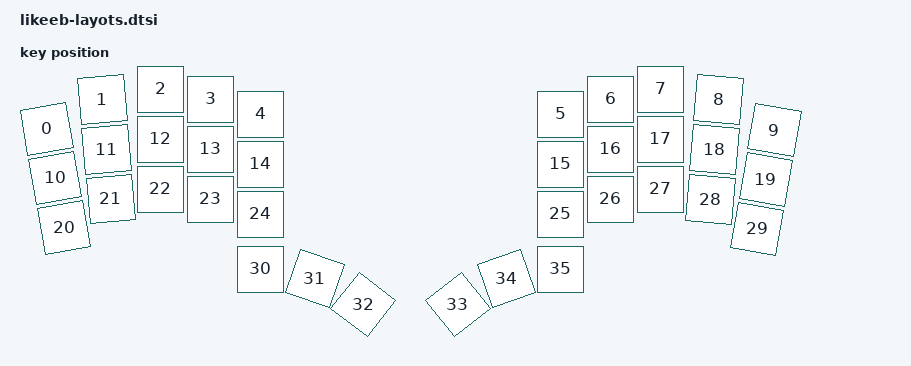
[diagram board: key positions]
#include <physical_layouts.dtsi>

/ {
    physical_layout0: physical_layout_0 {
        compatible = "zmk,physical-layout";
        display-name = "default_layout";

        kscan = <&kscan0>;
        transform = <&matrix_transform0>;

        keys  //                     w   h    x    y     rot    rx    ry
            = <&key_physical_attrs 100 100    0   70 (-1000)    85   370>
            , <&key_physical_attrs 100 100   90   16  (-500)   185   316>
            , <&key_physical_attrs 100 100  185    0       0     0     0>
            , <&key_physical_attrs 100 100  285   20       0     0     0>
            , <&key_physical_attrs 100 100  385   50       0     0     0>
            , <&key_physical_attrs 100 100  985   50       0     0     0>
            , <&key_physical_attrs 100 100 1085   20       0     0     0>
            , <&key_physical_attrs 100 100 1185    0       0     0     0>
            , <&key_physical_attrs 100 100 1280   16     500  1280   316>
            , <&key_physical_attrs 100 100 1370   70    1000  1370   370>
            , <&key_physical_attrs 100 100    0  170 (-1000)    85   370>
            , <&key_physical_attrs 100 100   90  116  (-500)   185   316>
            , <&key_physical_attrs 100 100  185  100       0     0     0>
            , <&key_physical_attrs 100 100  285  120       0     0     0>
            , <&key_physical_attrs 100 100  385  150       0     0     0>
            , <&key_physical_attrs 100 100  985  150       0     0     0>
            , <&key_physical_attrs 100 100 1085  120       0     0     0>
            , <&key_physical_attrs 100 100 1185  100       0     0     0>
            , <&key_physical_attrs 100 100 1280  116     500  1280   316>
            , <&key_physical_attrs 100 100 1370  170    1000  1370   370>
            , <&key_physical_attrs 100 100    0  270 (-1000)    85   370>
            , <&key_physical_attrs 100 100   90  216  (-500)   185   316>
            , <&key_physical_attrs 100 100  185  200       0     0     0>
            , <&key_physical_attrs 100 100  285  220       0     0     0>
            , <&key_physical_attrs 100 100  385  250       0     0     0>
            , <&key_physical_attrs 100 100  985  250       0     0     0>
            , <&key_physical_attrs 100 100 1085  220       0     0     0>
            , <&key_physical_attrs 100 100 1185  200       0     0     0>
            , <&key_physical_attrs 100 100 1280  216     500  1280   316>
            , <&key_physical_attrs 100 100 1370  270    1000  1370   370>
            , <&key_physical_attrs 100 100  385  360       0     0     0>
            , <&key_physical_attrs 100 100  480  360    1900   480   460>
            , <&key_physical_attrs 100 100  570  390    3800   570   490>
            , <&key_physical_attrs 100 100  800  390 (-3800)   900   490>
            , <&key_physical_attrs 100 100  890  360 (-1900)   990   460>
            , <&key_physical_attrs 100 100  985  360       0     0     0>
            ;
    };
};
